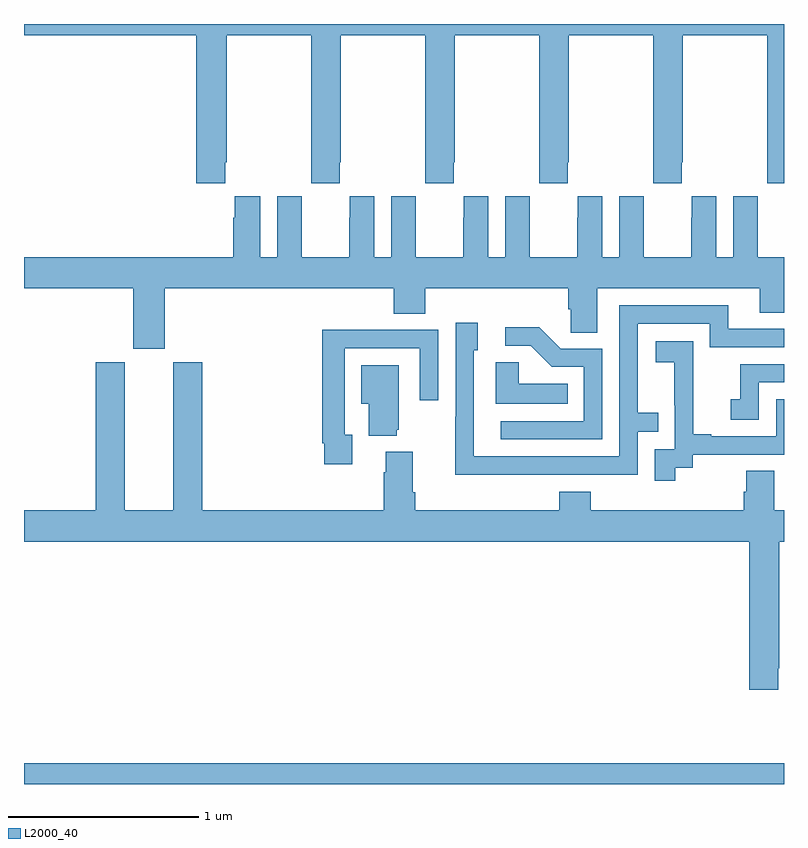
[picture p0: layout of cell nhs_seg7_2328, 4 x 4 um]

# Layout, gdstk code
import gdstk
lib = gdstk.Library(unit=1e-6, precision=1e-09)
def R(c, l, rs):  # rectangles x0, y0, x1, y1
    for r in rs: c.add(gdstk.rectangle(r[:2], r[2:], *l))
def P(c, l, *ps):  # polygons
    for p in ps: c.add(gdstk.Polygon(p, *l))
L2000_40 = (2000, 40)

nhs_seg7_2328 = lib.new_cell('nhs_seg7_2328')
R(nhs_seg7_2328, L2000_40, [(263,1006,267,1006.108)])
P(nhs_seg7_2328, L2000_40, [(264.059,1009.273),(264.066,1009.273),(264.066,1009.94),(264.511,1009.94),(264.511,1009.273),(264.513,1009.273),(264.513,1009.161),(264.663,1009.161),(264.663,1009.273),(264.666,1009.273),(264.666,1009.94),(265.111,1009.94),(265.111,1009.273),(265.113,1009.273),(265.113,1009.161),(265.263,1009.161),(265.263,1009.273),(265.266,1009.273),(265.266,1009.94),(265.711,1009.94),(265.711,1009.273),(265.713,1009.273),(265.713,1009.161),(265.863,1009.161),(265.863,1009.273),(265.866,1009.273),(265.866,1009.94),(266.311,1009.94),(266.311,1009.273),(266.313,1009.273),(266.313,1009.161),(266.463,1009.161),(266.463,1009.273),(266.466,1009.273),(266.466,1009.94),(266.911,1009.94),(266.911,1009.273),(266.913,1009.273),(266.913,1009.161),(267,1009.161),(267,1010),(263,1010),(263,1009.94),(263.906,1009.94),(263.906,1009.161),(264.059,1009.161)],
  [(266.873,1008.481),(267,1008.481),(267,1008.772),(266.863,1008.772),(266.863,1008.98),(266.862,1008.98),(266.862,1009.093),(266.732,1009.093),(266.732,1008.772),(266.644,1008.772),(266.644,1009.093),(266.514,1009.093),(266.514,1008.98),(266.513,1008.98),(266.513,1008.772),(266.263,1008.772),(266.263,1008.98),(266.262,1008.98),(266.262,1009.093),(266.132,1009.093),(266.132,1008.772),(266.044,1008.772),(266.044,1009.093),(265.914,1009.093),(265.914,1008.98),(265.913,1008.98),(265.913,1008.772),(265.663,1008.772),(265.663,1008.98),(265.662,1008.98),(265.662,1009.093),(265.532,1009.093),(265.532,1008.772),(265.444,1008.772),(265.444,1009.093),(265.314,1009.093),(265.314,1008.98),(265.313,1008.98),(265.313,1008.772),(265.063,1008.772),(265.063,1008.98),(265.062,1008.98),(265.062,1009.093),(264.932,1009.093),(264.932,1008.772),(264.844,1008.772),(264.844,1009.093),(264.714,1009.093),(264.714,1008.98),(264.713,1008.98),(264.713,1008.772),(264.463,1008.772),(264.463,1008.98),(264.462,1008.98),(264.462,1009.093),(264.332,1009.093),(264.332,1008.772),(264.244,1008.772),(264.244,1009.093),(264.11,1009.093),(264.11,1008.98),(264.101,1008.98),(264.101,1008.772),(263,1008.772),(263,1008.608),(263.576,1008.608),(263.576,1008.291),(263.74,1008.291),(263.74,1008.608),(264.947,1008.608),(264.947,1008.475),(265.112,1008.475),(265.112,1008.608),(265.865,1008.608),(265.865,1008.499),(265.878,1008.499),(265.878,1008.376),(266.017,1008.376),(266.017,1008.608),(266.873,1008.608)],
  [(265.733,1007.628),(266.229,1007.628),(266.229,1007.853),(266.339,1007.853),(266.339,1007.954),(266.229,1007.954),(266.229,1008.423),(266.61,1008.423),(266.61,1008.3),(267,1008.3),(267,1008.396),(266.707,1008.396),(266.707,1008.519),(266.133,1008.519),(266.133,1007.724),(265.368,1007.724),(265.368,1008.282),(265.387,1008.282),(265.387,1008.427),(265.272,1008.427),(265.272,1007.933),(265.27,1007.933),(265.27,1007.627),(265.733,1007.627)],
  [(266.043,1008.291),(265.824,1008.291),(265.711,1008.404),(265.533,1008.404),(265.533,1008.306),(265.667,1008.306),(265.778,1008.195),(265.947,1008.195),(265.947,1007.91),(265.509,1007.91),(265.509,1007.814),(266.043,1007.814)],
  [(264.727,1007.838),(264.687,1007.838),(264.687,1008.294),(265.083,1008.294),(265.083,1008.021),(265.179,1008.021),(265.179,1008.39),(264.863,1008.39),(264.863,1008.392),(264.571,1008.392),(264.571,1007.794),(264.579,1007.794),(264.579,1007.682),(264.727,1007.682)],
  [(266.428,1007.665),(266.52,1007.665),(266.52,1007.733),(267,1007.733),(267,1008.024),(266.958,1008.024),(266.958,1007.829),(266.617,1007.829),(266.617,1007.842),(266.522,1007.842),(266.522,1008.125),(266.523,1008.125),(266.523,1008.331),(266.325,1008.331),(266.325,1008.221),(266.423,1008.221),(266.423,1007.993),(266.424,1007.993),(266.424,1007.763),(266.319,1007.763),(266.319,1007.595),(266.428,1007.595)],
  [(265.862,1008.106),(265.605,1008.106),(265.605,1008.221),(265.484,1008.221),(265.484,1008.002),(265.862,1008.002)],
  [(266.971,1006.609),(266.976,1006.609),(266.976,1007.276),(267,1007.276),(267,1007.44),(266.949,1007.44),(266.949,1007.648),(266.801,1007.648),(266.801,1007.538),(266.789,1007.538),(266.789,1007.44),(265.982,1007.44),(265.982,1007.539),(265.817,1007.539),(265.817,1007.44),(265.058,1007.44),(265.058,1007.536),(265.045,1007.536),(265.045,1007.749),(264.905,1007.749),(264.905,1007.642),(264.893,1007.642),(264.893,1007.44),(263.939,1007.44),(263.939,1008.219),(263.786,1008.219),(263.786,1007.44),(263.53,1007.44),(263.53,1008.219),(263.378,1008.219),(263.378,1007.44),(263,1007.44),(263,1007.276),(266.816,1007.276),(266.816,1006.497),(266.971,1006.497)],
  [(266.868,1008.114),(267,1008.114),(267,1008.21),(266.77,1008.21),(266.77,1008.025),(266.721,1008.025),(266.721,1007.916),(266.868,1007.916)],
  [(264.962,1007.865),(264.973,1007.865),(264.973,1008.205),(264.776,1008.205),(264.776,1008.002),(264.815,1008.002),(264.815,1007.834),(264.962,1007.834)])

lib.write_gds('nhs_seg7_2328.gds')
